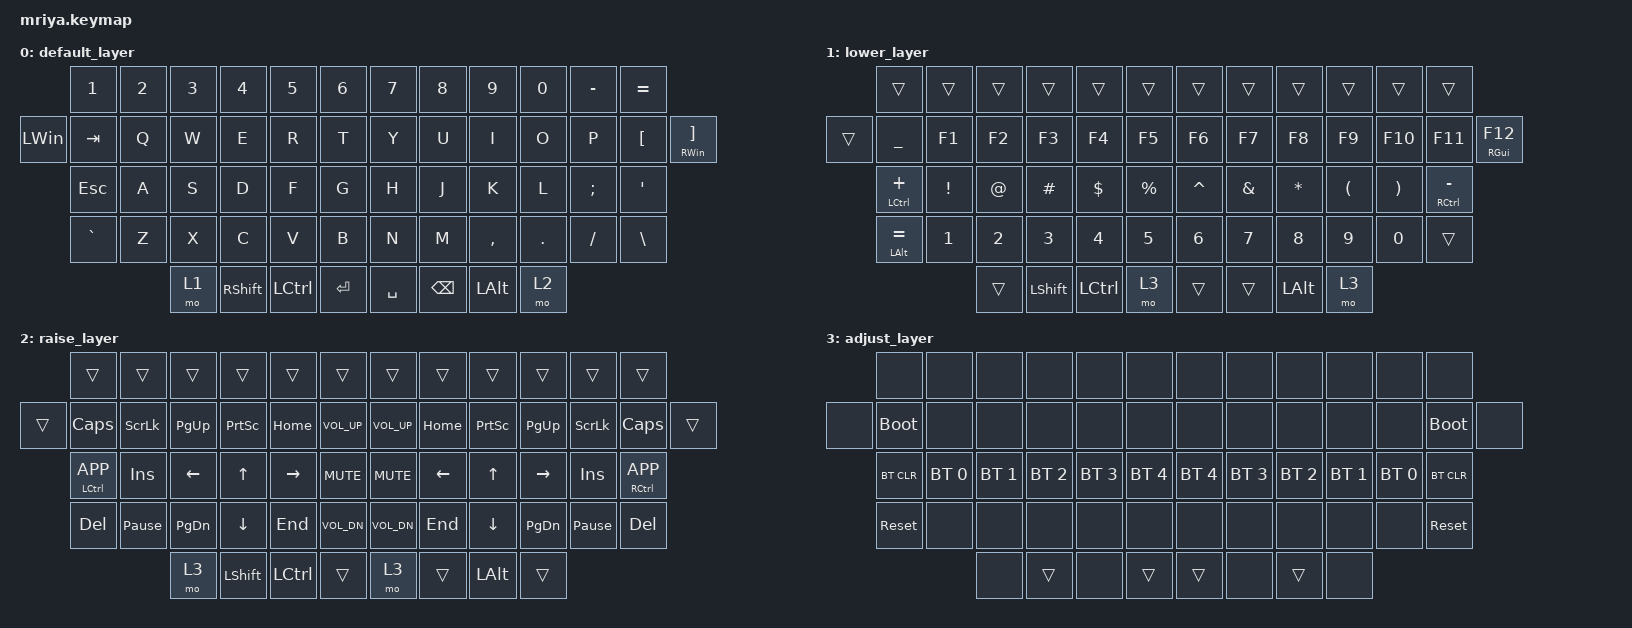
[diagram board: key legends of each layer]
/*
 * Copyright (c) 2023 Andrei Gaevskii
 *
 * SPDX-License-Identifier: MIT
 */

#include <behaviors.dtsi>
#include <dt-bindings/zmk/bt.h>
#include <dt-bindings/zmk/keys.h>

#define DEF 0
#define LWR 1
#define RSE 2
#define ADJ 3

&lt { quick_tap_ms = <200>; };

&mt { quick_tap_ms = <200>; };

/ {
    keymap {
        compatible = "zmk,keymap";

        default_layer {
            bindings = <
          &kp N1      &kp N2  &kp N3  &kp N4           &kp N5     &kp N6       &kp N7     &kp N8         &kp N9        &kp N0   &kp MINUS  &kp EQUAL
&kp LWIN  &kp TAB     &kp Q   &kp W   &kp E            &kp R      &kp T        &kp Y      &kp U          &kp I         &kp O    &kp P      &kp LEFT_BRACKET  &mt RWIN RBKT
          &kp ESCAPE  &kp A   &kp S   &kp D            &kp F      &kp G        &kp H      &kp J          &kp K         &kp L    &kp SEMI   &kp SINGLE_QUOTE
          &kp GRAVE   &kp Z   &kp X   &kp C            &kp V      &kp B        &kp N      &kp M          &kp COMMA     &kp DOT  &kp FSLH   &kp BACKSLASH
                              &mo 1   &kp RIGHT_SHIFT  &kp LCTRL  &kp ENTER    &kp SPACE  &kp BACKSPACE  &kp LEFT_ALT  &mo 2
            >;
        };

        lower_layer {
            bindings = <
        &trans          &trans    &trans  &trans          &trans     &trans       &trans     &trans    &trans        &trans    &trans    &trans
&trans  &kp UNDER       &kp F1    &kp F2  &kp F3          &kp F4     &kp F5       &kp F6     &kp F7    &kp F8        &kp F9    &kp F10   &kp F11          &mt RGUI F12
        &mt LCTRL PLUS  &kp EXCL  &kp AT  &kp HASH        &kp DLLR   &kp PRCNT    &kp CARET  &kp AMPS  &kp STAR      &kp LPAR  &kp RPAR  &mt RCTRL MINUS
        &mt LALT EQUAL  &kp N1    &kp N2  &kp N3          &kp N4     &kp N5       &kp N6     &kp N7    &kp N8        &kp N9    &kp N0    &trans
                                  &trans  &kp LEFT_SHIFT  &kp LCTRL  &mo 3        &trans     &trans    &kp LEFT_ALT  &mo 3
            >;
        };

        raise_layer {
            bindings = <
        &trans           &trans           &trans         &trans          &trans     &trans          &trans        &trans    &trans        &trans     &trans           &trans
&trans  &kp CAPS         &kp SLCK         &kp PG_UP      &kp PSCRN       &kp HOME   &kp C_VOL_UP    &kp C_VOL_UP  &kp HOME  &kp PSCRN     &kp PG_UP  &kp SLCK         &kp CAPS         &trans
        &mt LCTRL K_APP  &kp INS          &kp LEFT       &kp UP_ARROW    &kp RIGHT  &kp C_MUTE      &kp C_MUTE    &kp LEFT  &kp UP        &kp RIGHT  &kp INS          &mt RCTRL K_APP
        &kp DEL          &kp PAUSE_BREAK  &kp PAGE_DOWN  &kp DOWN_ARROW  &kp END    &kp C_VOL_DN    &kp C_VOL_DN  &kp END   &kp DOWN      &kp PG_DN  &kp PAUSE_BREAK  &kp DEL
                                          &mo 3          &kp LEFT_SHIFT  &kp LCTRL  &trans          &mo 3         &trans    &kp LEFT_ALT  &trans
            >;
        };

        adjust_layer {
            bindings = <
       &none        &none         &none         &none         &none         &none           &none         &none         &none         &none         &none         &none
&none  &bootloader  &none         &none         &none         &none         &none           &none         &none         &none         &none         &none         &bootloader  &none
       &bt BT_CLR   &bt BT_SEL 0  &bt BT_SEL 1  &bt BT_SEL 2  &bt BT_SEL 3  &bt BT_SEL 4    &bt BT_SEL 4  &bt BT_SEL 3  &bt BT_SEL 2  &bt BT_SEL 1  &bt BT_SEL 0  &bt BT_CLR
       &sys_reset   &none         &none         &none         &none         &none           &none         &none         &none         &none         &none         &sys_reset
                                  &none         &trans        &none         &trans          &trans        &none         &trans        &none
            >;
        };
    };
};
